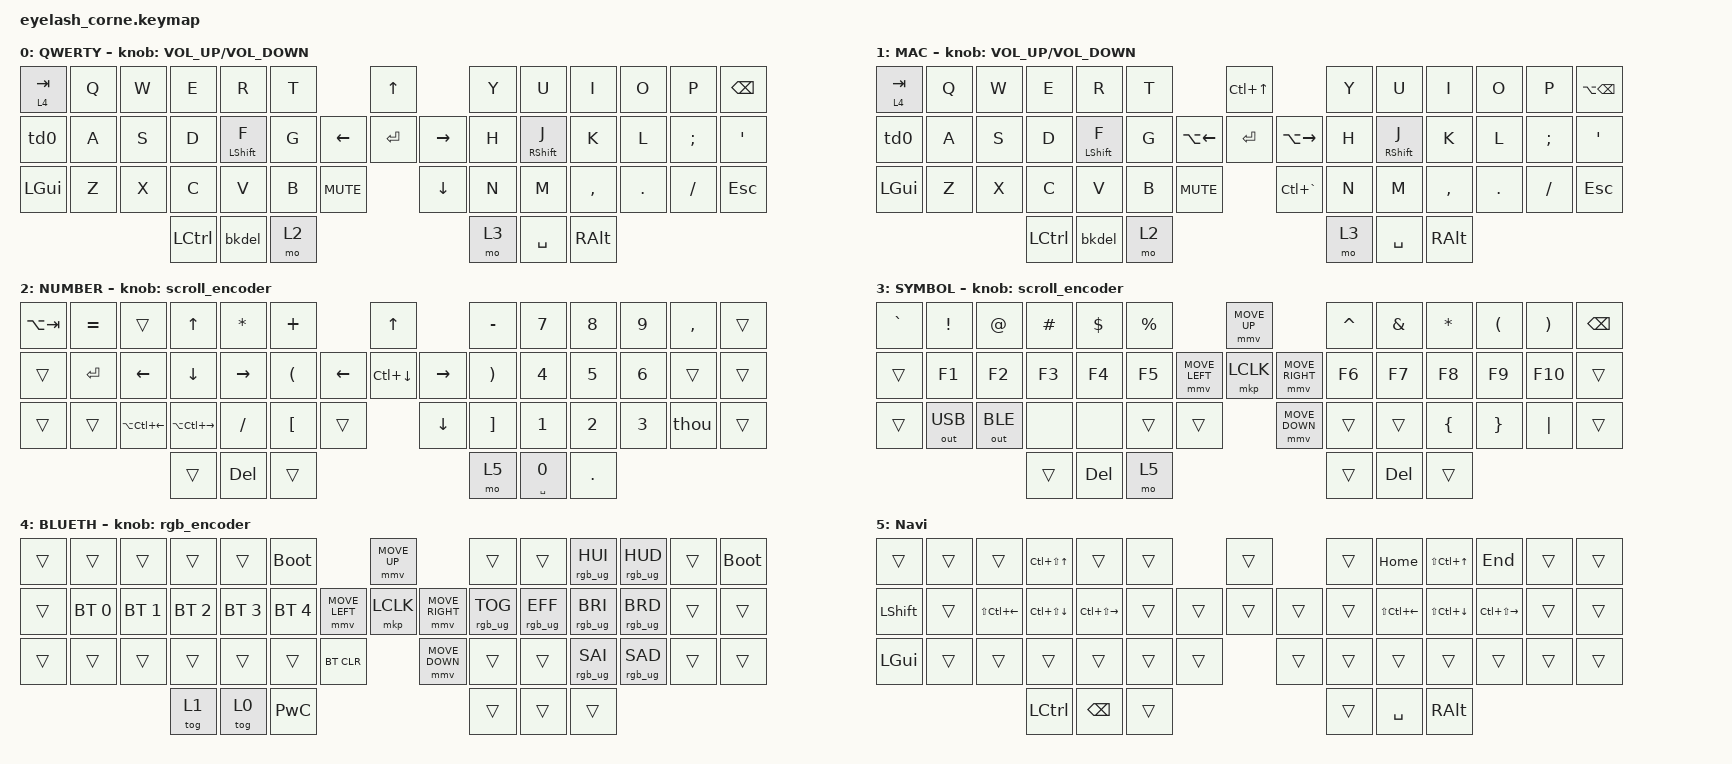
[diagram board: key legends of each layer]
#include <dt-bindings/zmk/mouse.h>
#include <input/processors.dtsi>
#include <behaviors.dtsi>
#include <dt-bindings/zmk/bt.h>
#include <dt-bindings/zmk/keys.h>
#include <dt-bindings/zmk/outputs.h>
#include <dt-bindings/zmk/pointing.h>
#include <dt-bindings/zmk/rgb.h>

/*

   &mmv_input_listener {
       input-processors = <&zip_xy_scaler 2 1>;
   };

   &msc_input_listener {
       input-processors = <&zip_xy_scaler 2 1>;
   };

 */

#define ZMK_MOUSE_DEFAULT_MOVE_VAL 1200  // 600
#define ZMK_MOUSE_DEFAULT_SCRL_VAL 20    // 10

/ {
    behaviors {
        td0: td0 {
            compatible = "zmk,behavior-tap-dance";
            display-name = "Shift/Caps Lock Tap Dance";
            #binding-cells = <0>;
            bindings = <&kp LEFT_SHIFT>, <&kp CAPS>;
        };

        tapnhold: tapnhold {
            compatible = "zmk,behavior-hold-tap";
            label = "TAPNHOLD";
            bindings = <&kp>, <&kp>;

            #binding-cells = <2>;
            flavor = "tap-preferred";
            tapping-term-ms = <450>;
        };

        bkdel: bkdel {
            compatible = "zmk,behavior-mod-morph";
            label = "BKDEL";
            bindings = <&kp BACKSPACE>, <&kp DELETE>;

            #binding-cells = <0>;
            mods = <(MOD_LSFT)>;
        };
    };

    rgb_encoder: rgb_encoder {
        compatible = "zmk,behavior-sensor-rotate";
        #sensor-binding-cells = <0>;
        bindings = <&rgb_ug RGB_BRI>, <&rgb_ug RGB_BRD>;
    };

    scroll_encoder: scroll_encoder {
        compatible = "zmk,behavior-sensor-rotate";
        #sensor-binding-cells = <0>;
        bindings = <&msc SCRL_DOWN>, <&msc SCRL_UP>;

        tap-ms = <30>;
    };

    combos {
        compatible = "zmk,combos";

        Return {
            bindings = <&kp RETURN>;
            key-positions = <43 46>;
            layers = <0>;
        };

        oend {
            bindings = <&kp END>;
            key-positions = <23 24>;
            layers = <0>;
        };

        hme {
            bindings = <&kp HOME>;
            key-positions = <17 16>;
            layers = <0>;
        };

        menu {
            bindings = <&kp K_APP>;
            key-positions = <25 26>;
        };
    };

    macros {
        thou: thou {
            compatible = "zmk,behavior-macro";
            #binding-cells = <0>;
            bindings = <&kp COMMA &kp N0 &kp N0 &kp N0>;
            label = "THOU";
        };

        PwC: PwC {
            compatible = "zmk,behavior-macro";
            #binding-cells = <0>;
            bindings = <&kp LS(K) &kp I &kp N &kp G &kp O &kp F &kp LS(K) &kp I &kp N &kp G &kp S &kp N9 &kp N4 &kp N4>;
            label = "PWC";
        };
    };

    keymap {
        compatible = "zmk,keymap";

        QWERTY {
            display-name = "QWERTY";
            bindings = <
&lt 4 TAB     &kp Q  &kp W  &kp E             &kp R                   &kp T                          &kp UP                &kp Y  &kp U                    &kp I      &kp O    &kp P     &kp BSPC
&td0          &kp A  &kp S  &kp D             &tapnhold LEFT_SHIFT F  &kp G                &kp LEFT  &kp ENTER  &kp RIGHT  &kp H  &tapnhold RIGHT_SHIFT J  &kp K      &kp L    &kp SEMI  &kp SQT
&kp LEFT_GUI  &kp Z  &kp X  &kp C             &kp V                   &kp B  &kp C_MUTE              &kp DOWN              &kp N  &kp M                    &kp COMMA  &kp DOT  &kp FSLH  &kp ESC
                            &kp LEFT_CONTROL  &bkdel                  &mo 2                                                &mo 3  &kp SPACE                &kp RALT
            >;

            sensor-bindings = <&inc_dec_kp C_VOLUME_UP C_VOLUME_DOWN>;
        };

        Mac {
            display-name = "MAC";
            bindings = <
&lt 4 TAB     &kp Q  &kp W  &kp E             &kp R                   &kp T                              &kp LC(UP)                    &kp Y  &kp U                    &kp I      &kp O    &kp P     &kp LA(BSPC)
&td0          &kp A  &kp S  &kp D             &tapnhold LEFT_SHIFT F  &kp G                &kp LA(LEFT)  &kp ENTER      &kp LA(RIGHT)  &kp H  &tapnhold RIGHT_SHIFT J  &kp K      &kp L    &kp SEMI  &kp SQT
&kp LEFT_GUI  &kp Z  &kp X  &kp C             &kp V                   &kp B  &kp C_MUTE                  &kp LC(GRAVE)                 &kp N  &kp M                    &kp COMMA  &kp DOT  &kp FSLH  &kp ESC
                            &kp LEFT_CONTROL  &bkdel                  &mo 2                                                            &mo 3  &kp SPACE                &kp RALT
            >;

            sensor-bindings = <&inc_dec_kp C_VOLUME_UP C_VOLUME_DOWN>;
        };

        NUMBER {
            display-name = "NUMBER";
            bindings = <
&kp LA(TAB)  &kp EQUAL  &trans            &kp UP_ARROW       &kp ASTERISK  &kp PLUS                                  &kp UP                   &kp MINUS              &kp N7                    &kp N8        &kp N9        &kp COMMA  &trans
&trans       &kp ENTER  &kp LEFT          &kp DOWN           &kp RIGHT     &kp LEFT_PARENTHESIS            &kp LEFT  &kp LC(DOWN)  &kp RIGHT  &kp RIGHT_PARENTHESIS  &kp NUMBER_4              &kp NUMBER_5  &kp NUMBER_6  &trans     &trans
&trans       &trans     &kp LA(LC(LEFT))  &kp LA(LC(RIGHT))  &kp SLASH     &kp LEFT_BRACKET      &trans              &kp DOWN                 &kp RIGHT_BRACKET      &kp NUMBER_1              &kp NUMBER_2  &kp NUMBER_3  &thou      &trans
                                          &trans             &kp DEL       &trans                                                             &mo 5                  &tapnhold SPACE NUMBER_0  &kp PERIOD
            >;

            sensor-bindings = <&scroll_encoder>;
        };

        SYMBOL {
            display-name = "SYMBOL";
            bindings = <
&kp GRAVE  &kp EXCL      &kp AT        &kp HASH  &kp DLLR  &kp PRCNT                            &mmv MOVE_UP                     &kp CARET  &kp AMPS  &kp ASTRK  &kp LPAR  &kp RPAR  &kp BSPC
&trans     &kp F1        &kp F2        &kp F3    &kp F4    &kp F5               &mmv MOVE_LEFT  &mkp LCLK       &mmv MOVE_RIGHT  &kp F6     &kp F7    &kp F8     &kp F9    &kp F10   &trans
&trans     &out OUT_USB  &out OUT_BLE  &none     &none     &trans     &trans                    &mmv MOVE_DOWN                   &trans     &trans    &kp LBRC   &kp RBRC  &kp PIPE  &trans
                                       &trans    &kp DEL   &mo 5                                                                 &trans     &kp DEL   &trans
            >;

            sensor-bindings = <&scroll_encoder>;
        };

        Bluetooth {
            display-name = "BLUETH";
            bindings = <
&trans  &trans        &trans        &trans        &trans        &bootloader                                 &mmv MOVE_UP                     &trans           &trans           &rgb_ug RGB_HUI  &rgb_ug RGB_HUD  &trans  &bootloader
&trans  &bt BT_SEL 0  &bt BT_SEL 1  &bt BT_SEL 2  &bt BT_SEL 3  &bt BT_SEL 4                &mmv MOVE_LEFT  &mkp LCLK       &mmv MOVE_RIGHT  &rgb_ug RGB_TOG  &rgb_ug RGB_EFF  &rgb_ug RGB_BRI  &rgb_ug RGB_BRD  &trans  &trans
&trans  &trans        &trans        &trans        &trans        &trans        &bt BT_CLR                    &mmv MOVE_DOWN                   &trans           &trans           &rgb_ug RGB_SAI  &rgb_ug RGB_SAD  &trans  &trans
                                    &tog 1        &tog 0        &PwC                                                                         &trans           &trans           &trans
            >;

            sensor-bindings = <&rgb_encoder>;
        };

        Navigation {
            bindings = <
&trans          &trans  &trans            &kp LC(LS(UP_ARROW))  &trans             &trans                    &trans          &trans  &kp HOME          &kp LS(LC(UP))    &kp END            &trans  &trans
&kp LEFT_SHIFT  &trans  &kp LS(LC(LEFT))  &kp LC(LS(DOWN))      &kp LC(LS(RIGHT))  &trans            &trans  &trans  &trans  &trans  &kp LS(LC(LEFT))  &kp LS(LC(DOWN))  &kp LC(LS(RIGHT))  &trans  &trans
&kp LEFT_GUI    &trans  &trans            &trans                &trans             &trans  &trans            &trans          &trans  &trans            &trans            &trans             &trans  &trans
                                          &kp LEFT_CONTROL      &kp BACKSPACE      &trans                                    &trans  &kp SPACE         &kp RIGHT_ALT
            >;

            label = "Navi";
        };
    };
};
